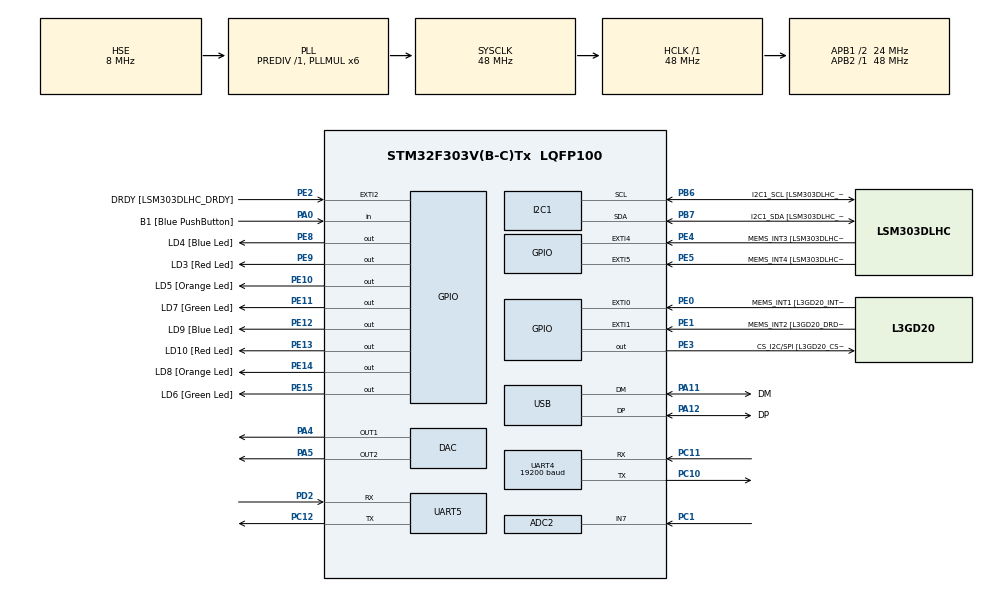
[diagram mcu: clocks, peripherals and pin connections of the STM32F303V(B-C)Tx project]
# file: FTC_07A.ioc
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ADC2.Channel-2\#ChannelRegularConversion=ADC_CHANNEL_7
ADC2.NbrOfConversionFlag=1
ADC2.Offset-2\#ChannelRegularConversion=0
ADC2.OffsetNumber-2\#ChannelRegularConversion=ADC_OFFSET_NONE
ADC2.Rank-2\#ChannelRegularConversion=1
ADC2.SamplingTime-2\#ChannelRegularConversion=ADC_SAMPLETIME_1CYCLE_5
I2C1.Timing-I2C=0x2000090E
Mcu.Family=STM32F3
Mcu.Name=STM32F303V(B-C)Tx
Mcu.Package=LQFP100
NVIC.ADC1_2_IRQn=true\:0\:0\:false\:false\:true\:true\:true
NVIC.PriorityGroup=NVIC_PRIORITYGROUP_0
NVIC.TIM3_IRQn=true\:0\:0\:false\:false\:true\:true\:true
NVIC.TIM4_IRQn=true\:0\:0\:false\:false\:true\:true\:true
NVIC.TIM6_DAC_IRQn=true\:0\:0\:false\:false\:true\:true\:true
NVIC.UART4_IRQn=true\:0\:0\:false\:false\:true\:true\:true
NVIC.UART5_IRQn=true\:0\:0\:false\:false\:true\:true\:true
PA0.GPIO_Label=B1 [Blue PushButton]
PA0.Signal=GPIO_Input
PA11.GPIO_Label=DM
PA11.Mode=Device
PA11.Signal=USB_DM
PA12.GPIO_Label=DP
PA12.Mode=Device
PA12.Signal=USB_DP
PA13.GPIO_Label=SWDIO
PA13.Mode=Serial_Wire
PA13.Signal=SYS_JTMS-SWDIO
PA14.GPIO_Label=SWCLK
PA14.Mode=Serial_Wire
PA14.Signal=SYS_JTCK-SWCLK
PA4.Signal=COMP_DAC1_group
PA5.Signal=COMP_DAC2_group
PA6.GPIO_Label=SPI1_MISO [L3GD20_SA0/SDO]
PA6.Signal=SPI1_MISO
PA7.GPIO_Label=SPI1_MISO [L3GD20_SDA/SDI/SDO]
PA7.Signal=SPI1_MOSI
PB3.GPIO_Label=SWO
PB3.Signal=SYS_JTDO-TRACESWO
PB6.GPIO_Label=I2C1_SCL [LSM303DLHC_SCL]
PB6.Mode=I2C
PB6.Signal=I2C1_SCL
PB7.GPIO_Label=I2C1_SDA [LSM303DLHC_SDA]
PB7.Mode=I2C
PB7.Signal=I2C1_SDA
PC1.Signal=ADCx_IN7
PC10.Mode=Asynchronous
PC10.Signal=UART4_TX
PC11.Mode=Asynchronous
PC11.Signal=UART4_RX
PC12.Mode=Asynchronous
PC12.Signal=UART5_TX
PC14-OSC32_IN.GPIO_Label=OSC32_IN
PC14-OSC32_IN.Signal=RCC_OSC32_IN
PC15-OSC32_OUT.GPIO_Label=OSC32_OUT
PC15-OSC32_OUT.Signal=RCC_OSC32_OUT
PD2.Mode=Asynchronous
PD2.Signal=UART5_RX
PE0.GPIO_Label=MEMS_INT1 [L3GD20_INT1]
PE0.GPIO_ModeDefaultEXTI=GPIO_MODE_EVT_RISING
PE0.Signal=GPXTI0
PE1.GPIO_Label=MEMS_INT2 [L3GD20_DRDY/INT2]
PE1.GPIO_ModeDefaultEXTI=GPIO_MODE_EVT_RISING
PE1.Signal=GPXTI1
PE10.GPIO_Label=LD5 [Orange Led]
PE10.Signal=GPIO_Output
PE11.GPIO_Label=LD7 [Green Led]
PE11.Signal=GPIO_Output
PE12.GPIO_Label=LD9 [Blue Led]
PE12.Signal=GPIO_Output
PE13.GPIO_Label=LD10 [Red Led]
PE13.Signal=GPIO_Output
PE14.GPIO_Label=LD8 [Orange Led]
PE14.Signal=GPIO_Output
PE15.GPIO_Label=LD6 [Green Led]
PE15.Signal=GPIO_Output
PE2.GPIO_Label=DRDY [LSM303DLHC_DRDY]
PE2.GPIO_ModeDefaultEXTI=GPIO_MODE_EVT_RISING
PE2.Signal=GPXTI2
PE3.GPIO_Label=CS_I2C/SPI [L3GD20_CS_I2C/SPI]
PE3.Signal=GPIO_Output
PE4.GPIO_Label=MEMS_INT3 [LSM303DLHC_INT1]
PE4.GPIO_ModeDefaultEXTI=GPIO_MODE_EVT_RISING
PE4.Signal=GPXTI4
PE5.GPIO_Label=MEMS_INT4 [LSM303DLHC_INT2]
PE5.GPIO_ModeDefaultEXTI=GPIO_MODE_EVT_RISING
PE5.Signal=GPXTI5
PE8.GPIO_Label=LD4 [Blue Led]
PE8.Signal=GPIO_Output
PE9.GPIO_Label=LD3 [Red Led]
PE9.Signal=GPIO_Output
PF0-OSC_IN.GPIO_Label=OSC_IN
PF0-OSC_IN.Mode=HSE-External-Clock-Source
PF0-OSC_IN.Signal=RCC_OSC_IN
PF1-OSC_OUT.GPIO_Label=OSC_OUT
PF1-OSC_OUT.Signal=RCC_OSC_OUT
ProjectManager.HeapSize=0x200
ProjectManager.StackSize=0x400
ProjectManager.TargetToolchain=MDK-ARM V5
RCC.AHBFreq_Value=48000000
RCC.APB1CLKDivider=RCC_HCLK_DIV2
RCC.APB1Freq_Value=24000000
RCC.APB1TimFreq_Value=48000000
RCC.APB2Freq_Value=48000000
RCC.APB2TimFreq_Value=48000000
RCC.CortexFreq_Value=48000000
RCC.HCLKFreq_Value=48000000
RCC.HSE_VALUE=8000000
RCC.HSI_VALUE=8000000
RCC.LSE_VALUE=32768
RCC.PLLMUL=RCC_PLL_MUL6
RCC.SYSCLKFreq_VALUE=48000000
RCC.SYSCLKSourceVirtual=RCC_SYSCLKSOURCE_PLLCLK
RCC.USBFreq_Value=48000000
SH.ADCx_IN7.0=ADC2_IN7,IN7-Single-Ended
SH.COMP_DAC1_group.0=DAC_OUT1,DAC_OUT1
SH.COMP_DAC2_group.0=DAC_OUT2,Enable_DAC_OUT2
TIM3.Period=3
TIM3.Prescaler=240
TIM3.TIM_MasterOutputTrigger=TIM_TRGO_UPDATE
TIM4.Period=499
TIM4.Prescaler=959
TIM4.TIM_MasterOutputTrigger=TIM_TRGO_UPDATE
TIM6.Period=99
TIM6.Prescaler=239
TIM6.TIM_MasterOutputTrigger=TIM_TRGO_UPDATE
UART4.BaudRate=19200
VP_TIM3_VS_ClockSourceINT.Mode=Internal
VP_TIM4_VS_ClockSourceINT.Mode=Internal
VP_TIM6_VS_ClockSourceINT.Mode=Enable_Timer
board=STM32F3DISCOVERY

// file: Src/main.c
/* USER CODE BEGIN Header */
/**
  ******************************************************************************
  * @file           : main.c
  * @brief          : Main program body
  ******************************************************************************
  * @attention
  *
  * <h2><center>&copy; Copyright (c) 2019 STMicroelectronics.
  * All rights reserved.</center></h2>
  *
  * This software component is licensed by ST under BSD 3-Clause license,
  * the "License"; You may not use this file except in compliance with the
  * License. You may obtain a copy of the License at:
  *                        opensource.org/licenses/BSD-3-Clause
  *
  ******************************************************************************
  */
/* USER CODE END Header */

#include "main.h"

/* USER CODE BEGIN Includes */
#include <stdio.h>
#include <string.h>
#include <stdbool.h>

/* USER CODE END Includes */

ADC_HandleTypeDef hadc2;

DAC_HandleTypeDef hdac;

I2C_HandleTypeDef hi2c1;

TIM_HandleTypeDef htim3;
TIM_HandleTypeDef htim4;
TIM_HandleTypeDef htim6;

UART_HandleTypeDef huart4;
UART_HandleTypeDef huart5;

PCD_HandleTypeDef hpcd_USB_FS;

/* USER CODE BEGIN PV */
/* Private variables ---------------------------------------------------------*/
//définition des variables globales utilisées dans le code
uint32_t ADCValue;
char a = 0;
int i=0;
float table_sinus[40] = {-1,-0.98769,-0.9511,-0.891006,-0.809017,-0.707107,-0.587786,-0.453990,-0.309017,-0.156434,0,0.156434,0.309017,0.453990,0.587786,0.707107,0.809017,0.891006,0.9511,0.98769,1,0.98769,0.9511,0.891006,0.809017,0.707107,0.587786,0.453990,0.309017,0.156434,0,-0.156434,-0.309017,-0.453990,-0.587786,-0.707107,-0.809017,-0.891006,-0.9511,-0.98769};
float sinus; float freq = 440;
uint32_t truc;
int bip = 3; int son = 25; int silence = 50; int j = 0; int k = 0;
bool enable_sortie = false;
bool enable_reception = false;
float sortie_sinus;
unsigned char cmd[30];
uint8_t pData;
char parcours_tableau = 0;
uint32_t ADCValue2;
uint32_t MaxValue=0;
uint8_t ptData;
uint32_t ADCValue_prev=0x000;
uint32_t ADCValue_prev2=0x000;
//uint32_t ADCValue_prev3=0x000;
uint8_t sig[4];
float tab_freq[100] = {261.6,293.7,329.7,349.2,392,440,493.9,523.2,587.4,659.4,698.4,784,880,987.8,1046.4,1174.8,1318.8,1396.8,1568,1760,1975.8};
/* USER CODE END PV */

void SystemClock_Config(void);
static void MX_GPIO_Init(void);
static void MX_I2C1_Init(void);
static void MX_USB_PCD_Init(void);
static void MX_DAC_Init(void);
static void MX_ADC2_Init(void);
static void MX_UART4_Init(void);
static void MX_TIM3_Init(void);
static void MX_TIM4_Init(void);
static void MX_TIM6_Init(void);
static void MX_UART5_Init(void);
/* USER CODE BEGIN PFP */
/* Private function prototypes -----------------------------------------------*/

/* USER CODE END PFP */

int main(void)
{

  /* MCU Configuration--------------------------------------------------------*/

  /* Reset of all peripherals, Initializes the Flash interface and the Systick. */
  HAL_Init();

  /* Configure the system clock */
  SystemClock_Config();

  /* Initialize all configured peripherals */
  MX_GPIO_Init();
  MX_I2C1_Init();
  MX_USB_PCD_Init();
  MX_DAC_Init();
  MX_ADC2_Init();
  MX_UART4_Init();
  MX_TIM3_Init();
  MX_TIM4_Init();
  MX_TIM6_Init();
  MX_UART5_Init();

  /* Infinite loop */
  /* USER CODE BEGIN WHILE */
  while (1)
  {
		HAL_UART_Receive_IT(&huart4,&pData,1);

    /* USER CODE END WHILE */

  }
}

void SystemClock_Config(void)
{
  RCC_OscInitTypeDef RCC_OscInitStruct = {0};
  RCC_ClkInitTypeDef RCC_ClkInitStruct = {0};
  RCC_PeriphCLKInitTypeDef PeriphClkInit = {0};

  /** Initializes the CPU, AHB and APB busses clocks
  */
  RCC_OscInitStruct.OscillatorType = RCC_OSCILLATORTYPE_HSI|RCC_OSCILLATORTYPE_HSE;
  RCC_OscInitStruct.HSEState = RCC_HSE_BYPASS;
  RCC_OscInitStruct.HSEPredivValue = RCC_HSE_PREDIV_DIV1;
  RCC_OscInitStruct.HSIState = RCC_HSI_ON;
  RCC_OscInitStruct.HSICalibrationValue = RCC_HSICALIBRATION_DEFAULT;
  RCC_OscInitStruct.PLL.PLLState = RCC_PLL_ON;
  RCC_OscInitStruct.PLL.PLLSource = RCC_PLLSOURCE_HSE;
  RCC_OscInitStruct.PLL.PLLMUL = RCC_PLL_MUL6;
  if (HAL_RCC_OscConfig(&RCC_OscInitStruct) != HAL_OK)
  {
    Error_Handler();
  }
  /** Initializes the CPU, AHB and APB busses clocks
  */
  RCC_ClkInitStruct.ClockType = RCC_CLOCKTYPE_HCLK|RCC_CLOCKTYPE_SYSCLK
                              |RCC_CLOCKTYPE_PCLK1|RCC_CLOCKTYPE_PCLK2;
  RCC_ClkInitStruct.SYSCLKSource = RCC_SYSCLKSOURCE_PLLCLK;
  RCC_ClkInitStruct.AHBCLKDivider = RCC_SYSCLK_DIV1;
  RCC_ClkInitStruct.APB1CLKDivider = RCC_HCLK_DIV2;
  RCC_ClkInitStruct.APB2CLKDivider = RCC_HCLK_DIV1;

  if (HAL_RCC_ClockConfig(&RCC_ClkInitStruct, FLASH_LATENCY_1) != HAL_OK)
  {
    Error_Handler();
  }
  PeriphClkInit.PeriphClockSelection = RCC_PERIPHCLK_USB|RCC_PERIPHCLK_UART4
                              |RCC_PERIPHCLK_UART5|RCC_PERIPHCLK_I2C1
                              |RCC_PERIPHCLK_ADC12;
  PeriphClkInit.Uart4ClockSelection = RCC_UART4CLKSOURCE_PCLK1;
  PeriphClkInit.Uart5ClockSelection = RCC_UART5CLKSOURCE_PCLK1;
  PeriphClkInit.Adc12ClockSelection = RCC_ADC12PLLCLK_DIV1;
  PeriphClkInit.I2c1ClockSelection = RCC_I2C1CLKSOURCE_HSI;
  PeriphClkInit.USBClockSelection = RCC_USBCLKSOURCE_PLL;
  if (HAL_RCCEx_PeriphCLKConfig(&PeriphClkInit) != HAL_OK)
  {
    Error_Handler();
  }
}

static void MX_ADC2_Init(void)
{

  ADC_ChannelConfTypeDef sConfig = {0};

  /** Common config
  */
  hadc2.Instance = ADC2;
  hadc2.Init.ClockPrescaler = ADC_CLOCK_ASYNC_DIV1;
  hadc2.Init.Resolution = ADC_RESOLUTION_12B;
  hadc2.Init.ScanConvMode = ADC_SCAN_DISABLE;
  hadc2.Init.ContinuousConvMode = DISABLE;
  hadc2.Init.DiscontinuousConvMode = DISABLE;
  hadc2.Init.ExternalTrigConvEdge = ADC_EXTERNALTRIGCONVEDGE_NONE;
  hadc2.Init.ExternalTrigConv = ADC_SOFTWARE_START;
  hadc2.Init.DataAlign = ADC_DATAALIGN_RIGHT;
  hadc2.Init.NbrOfConversion = 1;
  hadc2.Init.DMAContinuousRequests = DISABLE;
  hadc2.Init.EOCSelection = ADC_EOC_SINGLE_CONV;
  hadc2.Init.LowPowerAutoWait = DISABLE;
  hadc2.Init.Overrun = ADC_OVR_DATA_OVERWRITTEN;
  if (HAL_ADC_Init(&hadc2) != HAL_OK)
  {
    Error_Handler();
  }
  /** Configure Regular Channel
  */
  sConfig.Channel = ADC_CHANNEL_7;
  sConfig.Rank = ADC_REGULAR_RANK_1;
  sConfig.SingleDiff = ADC_SINGLE_ENDED;
  sConfig.SamplingTime = ADC_SAMPLETIME_1CYCLE_5;
  sConfig.OffsetNumber = ADC_OFFSET_NONE;
  sConfig.Offset = 0;
  if (HAL_ADC_ConfigChannel(&hadc2, &sConfig) != HAL_OK)
  {
    Error_Handler();
  }

}

static void MX_DAC_Init(void)
{

  DAC_ChannelConfTypeDef sConfig = {0};

  /** DAC Initialization
  */
  hdac.Instance = DAC;
  if (HAL_DAC_Init(&hdac) != HAL_OK)
  {
    Error_Handler();
  }
  /** DAC channel OUT1 config
  */
  sConfig.DAC_Trigger = DAC_TRIGGER_NONE;
  sConfig.DAC_OutputBuffer = DAC_OUTPUTBUFFER_ENABLE;
  if (HAL_DAC_ConfigChannel(&hdac, &sConfig, DAC_CHANNEL_1) != HAL_OK)
  {
    Error_Handler();
  }
  /** DAC channel OUT2 config
  */
  if (HAL_DAC_ConfigChannel(&hdac, &sConfig, DAC_CHANNEL_2) != HAL_OK)
  {
    Error_Handler();
  }

}

static void MX_I2C1_Init(void)
{

  hi2c1.Instance = I2C1;
  hi2c1.Init.Timing = 0x2000090E;
  hi2c1.Init.OwnAddress1 = 0;
  hi2c1.Init.AddressingMode = I2C_ADDRESSINGMODE_7BIT;
  hi2c1.Init.DualAddressMode = I2C_DUALADDRESS_DISABLE;
  hi2c1.Init.OwnAddress2 = 0;
  hi2c1.Init.OwnAddress2Masks = I2C_OA2_NOMASK;
  hi2c1.Init.GeneralCallMode = I2C_GENERALCALL_DISABLE;
  hi2c1.Init.NoStretchMode = I2C_NOSTRETCH_DISABLE;
  if (HAL_I2C_Init(&hi2c1) != HAL_OK)
  {
    Error_Handler();
  }
  /** Configure Analogue filter
  */
  if (HAL_I2CEx_ConfigAnalogFilter(&hi2c1, I2C_ANALOGFILTER_ENABLE) != HAL_OK)
  {
    Error_Handler();
  }
  /** Configure Digital filter
  */
  if (HAL_I2CEx_ConfigDigitalFilter(&hi2c1, 0) != HAL_OK)
  {
    Error_Handler();
  }

}

static void MX_TIM3_Init(void)
{

  TIM_ClockConfigTypeDef sClockSourceConfig = {0};
  TIM_MasterConfigTypeDef sMasterConfig = {0};

  htim3.Instance = TIM3;
  htim3.Init.Prescaler = 240;
  htim3.Init.CounterMode = TIM_COUNTERMODE_UP;
  htim3.Init.Period = 3;
  htim3.Init.ClockDivision = TIM_CLOCKDIVISION_DIV1;
  htim3.Init.AutoReloadPreload = TIM_AUTORELOAD_PRELOAD_DISABLE;
  if (HAL_TIM_Base_Init(&htim3) != HAL_OK)
  {
    Error_Handler();
  }
  sClockSourceConfig.ClockSource = TIM_CLOCKSOURCE_INTERNAL;
  if (HAL_TIM_ConfigClockSource(&htim3, &sClockSourceConfig) != HAL_OK)
  {
    Error_Handler();
  }
  sMasterConfig.MasterOutputTrigger = TIM_TRGO_UPDATE;
  sMasterConfig.MasterSlaveMode = TIM_MASTERSLAVEMODE_DISABLE;
  if (HAL_TIMEx_MasterConfigSynchronization(&htim3, &sMasterConfig) != HAL_OK)
  {
    Error_Handler();
  }

}

static void MX_TIM4_Init(void)
{

  TIM_ClockConfigTypeDef sClockSourceConfig = {0};
  TIM_MasterConfigTypeDef sMasterConfig = {0};

  htim4.Instance = TIM4;
  htim4.Init.Prescaler = 959;
  htim4.Init.CounterMode = TIM_COUNTERMODE_UP;
  htim4.Init.Period = 499;
  htim4.Init.ClockDivision = TIM_CLOCKDIVISION_DIV1;
  htim4.Init.AutoReloadPreload = TIM_AUTORELOAD_PRELOAD_DISABLE;
  if (HAL_TIM_Base_Init(&htim4) != HAL_OK)
  {
    Error_Handler();
  }
  sClockSourceConfig.ClockSource = TIM_CLOCKSOURCE_INTERNAL;
  if (HAL_TIM_ConfigClockSource(&htim4, &sClockSourceConfig) != HAL_OK)
  {
    Error_Handler();
  }
  sMasterConfig.MasterOutputTrigger = TIM_TRGO_UPDATE;
  sMasterConfig.MasterSlaveMode = TIM_MASTERSLAVEMODE_DISABLE;
  if (HAL_TIMEx_MasterConfigSynchronization(&htim4, &sMasterConfig) != HAL_OK)
  {
    Error_Handler();
  }

}

static void MX_TIM6_Init(void)
{

  TIM_MasterConfigTypeDef sMasterConfig = {0};

  htim6.Instance = TIM6;
  htim6.Init.Prescaler = 239;
  htim6.Init.CounterMode = TIM_COUNTERMODE_UP;
  htim6.Init.Period = 99;
  htim6.Init.AutoReloadPreload = TIM_AUTORELOAD_PRELOAD_DISABLE;
  if (HAL_TIM_Base_Init(&htim6) != HAL_OK)
  {
    Error_Handler();
  }
  sMasterConfig.MasterOutputTrigger = TIM_TRGO_UPDATE;
  sMasterConfig.MasterSlaveMode = TIM_MASTERSLAVEMODE_DISABLE;
  if (HAL_TIMEx_MasterConfigSynchronization(&htim6, &sMasterConfig) != HAL_OK)
  {
    Error_Handler();
  }

}

static void MX_UART4_Init(void)
{

  huart4.Instance = UART4;
  huart4.Init.BaudRate = 19200;
  huart4.Init.WordLength = UART_WORDLENGTH_8B;
  huart4.Init.StopBits = UART_STOPBITS_1;
  huart4.Init.Parity = UART_PARITY_NONE;
  huart4.Init.Mode = UART_MODE_TX_RX;
  huart4.Init.HwFlowCtl = UART_HWCONTROL_NONE;
  huart4.Init.OverSampling = UART_OVERSAMPLING_16;
  huart4.Init.OneBitSampling = UART_ONE_BIT_SAMPLE_DISABLE;
  huart4.AdvancedInit.AdvFeatureInit = UART_ADVFEATURE_NO_INIT;
  if (HAL_UART_Init(&huart4) != HAL_OK)
  {
    Error_Handler();
  }

}

static void MX_UART5_Init(void)
{

  huart5.Instance = UART5;
  huart5.Init.BaudRate = 115200;
  huart5.Init.WordLength = UART_WORDLENGTH_8B;
  huart5.Init.StopBits = UART_STOPBITS_1;
  huart5.Init.Parity = UART_PARITY_NONE;
  huart5.Init.Mode = UART_MODE_TX_RX;
  huart5.Init.HwFlowCtl = UART_HWCONTROL_NONE;
  huart5.Init.OverSampling = UART_OVERSAMPLING_16;
  huart5.Init.OneBitSampling = UART_ONE_BIT_SAMPLE_DISABLE;
  huart5.AdvancedInit.AdvFeatureInit = UART_ADVFEATURE_NO_INIT;
  if (HAL_UART_Init(&huart5) != HAL_OK)
  {
    Error_Handler();
  }

}

static void MX_USB_PCD_Init(void)
{

  hpcd_USB_FS.Instance = USB;
  hpcd_USB_FS.Init.dev_endpoints = 8;
  hpcd_USB_FS.Init.speed = PCD_SPEED_FULL;
  hpcd_USB_FS.Init.phy_itface = PCD_PHY_EMBEDDED;
  hpcd_USB_FS.Init.low_power_enable = DISABLE;
  hpcd_USB_FS.Init.battery_charging_enable = DISABLE;
  if (HAL_PCD_Init(&hpcd_USB_FS) != HAL_OK)
  {
    Error_Handler();
  }

}

static void MX_GPIO_Init(void)
{
  GPIO_InitTypeDef GPIO_InitStruct = {0};

  /* GPIO Ports Clock Enable */
  __HAL_RCC_GPIOE_CLK_ENABLE();
  __HAL_RCC_GPIOC_CLK_ENABLE();
  __HAL_RCC_GPIOF_CLK_ENABLE();
  __HAL_RCC_GPIOA_CLK_ENABLE();
  __HAL_RCC_GPIOD_CLK_ENABLE();
  __HAL_RCC_GPIOB_CLK_ENABLE();

  /*Configure GPIO pin Output Level */
  HAL_GPIO_WritePin(GPIOE, CS_I2C_SPI_Pin|LD4_Pin|LD3_Pin|LD5_Pin
                          |LD7_Pin|LD9_Pin|LD10_Pin|LD8_Pin
                          |LD6_Pin, GPIO_PIN_RESET);

  /*Configure GPIO pins : DRDY_Pin MEMS_INT3_Pin MEMS_INT4_Pin MEMS_INT1_Pin
                           MEMS_INT2_Pin */
  GPIO_InitStruct.Pin = DRDY_Pin|MEMS_INT3_Pin|MEMS_INT4_Pin|MEMS_INT1_Pin
                          |MEMS_INT2_Pin;
  GPIO_InitStruct.Mode = GPIO_MODE_EVT_RISING;
  GPIO_InitStruct.Pull = GPIO_NOPULL;
  HAL_GPIO_Init(GPIOE, &GPIO_InitStruct);

  /*Configure GPIO pins : CS_I2C_SPI_Pin LD4_Pin LD3_Pin LD5_Pin
                           LD7_Pin LD9_Pin LD10_Pin LD8_Pin
                           LD6_Pin */
  GPIO_InitStruct.Pin = CS_I2C_SPI_Pin|LD4_Pin|LD3_Pin|LD5_Pin
                          |LD7_Pin|LD9_Pin|LD10_Pin|LD8_Pin
                          |LD6_Pin;
  GPIO_InitStruct.Mode = GPIO_MODE_OUTPUT_PP;
  GPIO_InitStruct.Pull = GPIO_NOPULL;
  GPIO_InitStruct.Speed = GPIO_SPEED_FREQ_LOW;
  HAL_GPIO_Init(GPIOE, &GPIO_InitStruct);

  /*Configure GPIO pin : B1_Pin */
  GPIO_InitStruct.Pin = B1_Pin;
  GPIO_InitStruct.Mode = GPIO_MODE_INPUT;
  GPIO_InitStruct.Pull = GPIO_NOPULL;
  HAL_GPIO_Init(B1_GPIO_Port, &GPIO_InitStruct);

  /*Configure GPIO pins : SPI1_MISO_Pin SPI1_MISOA7_Pin */
  GPIO_InitStruct.Pin = SPI1_MISO_Pin|SPI1_MISOA7_Pin;
  GPIO_InitStruct.Mode = GPIO_MODE_AF_PP;
  GPIO_InitStruct.Pull = GPIO_NOPULL;
  GPIO_InitStruct.Speed = GPIO_SPEED_FREQ_HIGH;
  GPIO_InitStruct.Alternate = GPIO_AF5_SPI1;
  HAL_GPIO_Init(GPIOA, &GPIO_InitStruct);

}

/* USER CODE BEGIN 4 */

void init_generation_son(float freq,int son,int silence,int bip){
	htim3.Instance->PSC = 48000000/(4*freq*40); //calcul du prescaler du timer 3
	htim3.Instance->ARR = 3;
	htim4.Instance->PSC =959;
	htim4.Instance->ARR = 499;
	HAL_TIM_Base_Start_IT(&htim3);//genère un "update event"
	j=0; //reinitialise le compteur de bip
	HAL_TIM_Base_Start_IT(&htim4);
}

void init_acquisition_son(void){
	htim3.Instance->PSC = 109; //prescaler à 239 et period à 19 pour avoir une freq de 44kHz
	htim3.Instance->ARR = 9;
	htim6.Instance->PSC = 239; //prescaler à 239 et period à 19 pour avoir une freq de 2kHz
	htim6.Instance->ARR = 99;
	HAL_TIM_Base_Start_IT(&htim3);//genère un "update event"
	HAL_TIM_Base_Start_IT(&htim6);//genère un "update event"
}
void enveloppe_signal(void){
	if (enable_reception==true){
 		HAL_ADC_Start (&hadc2);
		HAL_ADC_PollForConversion(&hadc2,10);
		//ADCValue_prev3=ADCValue_prev2;
		ADCValue_prev2=ADCValue_prev;
		ADCValue_prev=ADCValue;
		ADCValue = HAL_ADC_GetValue(&hadc2);

	if (ADCValue==0x000 && ADCValue_prev==0x000 && ADCValue_prev2==0x000){
		//si  toutes les valeurs précédentes et actuelles sont à 0, on met le seuil à 0
		MaxValue=0x000;
	}
	else{
		if(ADCValue>MaxValue){
		MaxValue=ADCValue;
		}
	}
	HAL_DAC_SetValue(&hdac,DAC_CHANNEL_1,DAC_ALIGN_12B_R, MaxValue);
	HAL_DAC_Start(&hdac,DAC_CHANNEL_1);
	}
}
void generation_sinus(void){
	if (enable_sortie==true){
		if(a>39){
			a=0;
		}
		sinus = (table_sinus[a]+1)*2047;
		sortie_sinus=sinus;
		a+=1;
		HAL_DAC_SetValue(&hdac, DAC_CHANNEL_1, DAC_ALIGN_12B_R, sortie_sinus);
		HAL_DAC_Start(&hdac,DAC_CHANNEL_1);
	}
	else{
		//sinon on revient au début du tableau
		a=0;
	}

	}

void recopie_signal(void){
	if (enable_reception==true){
		HAL_ADC_Start (&hadc2);
		HAL_ADC_PollForConversion(&hadc2,10);
		ADCValue2 = HAL_ADC_GetValue(&hadc2);
		HAL_DAC_SetValue(&hdac, DAC_CHANNEL_2, DAC_ALIGN_12B_R, ADCValue2);
		HAL_DAC_Start(&hdac,DAC_CHANNEL_2);
	}
}
void generation_son(void){
	//tant qu'on a pas fait le nombre de bip demandé
	if(j<bip){
		//tant qu'on a pas atteint la durée de son demandée
		if(k<son){
			enable_sortie = true; //on passe le flag à 1
			k++; //on incrément l'indice
		}
		//sinon si on a dépassé la durée du son demandée mais pas la durée totale
		else if(k<son+silence){
			enable_sortie = false; //on passe le flag à 0
			sortie_sinus=0; // on retourne 0 pour la sortie du sinus
			k++; // on incrémente l'indice
		}
		else {
			sinus = 0; ///on met la valeur du sinus à0 pour redémarrer le sinus à 0
			k=0; // on réinitialise l'indice d'incrémentation
			j++; //on passe au bip suivant
		}

}
	else {
		HAL_TIM_Base_Stop_IT(&htim3);
		HAL_TIM_Base_Stop_IT(&htim4);
	}

}

void HAL_TIM_PeriodElapsedCallback(TIM_HandleTypeDef* htim){

	if (htim == &htim3){
		//lors d'un overflow du timer 3
		recopie_signal();
		generation_sinus();
//
}
		else if(htim==&htim4){
			//lors d'un overflow du timer 4
			generation_son();
		}
		else if(htim==&htim6){
			//lors d'un overflow du timer 6
			enveloppe_signal();

		}
}

void HAL_UART_RxCpltCallback(UART_HandleTypeDef *huart){
	//fonction permettant de réceptionner les caractères et la fin d'une commande
		if (pData != '\r'){
			cmd[parcours_tableau] = pData;
			parcours_tableau++;

		}
		else{
			cmd[parcours_tableau] = ' ';
			parcours_tableau = 0;
			interprete_commande(cmd);
		}

}
void interprete_commande(unsigned char* cmd){
	int code_freq=6;
	if(cmd[0]=='S' && cmd[1]=='D'){
		enable_reception=false;
		sscanf((char*) cmd, "SD F:%d P:%d W:%d B:%d ", &code_freq, &son , &silence , &bip);
		freq = tab_freq[code_freq-1];//on fait la correspondance entre le numero de frequence et la fréquence
		init_generation_son(freq, son, silence, bip);
	}
	else if(cmd[0]=='A' && cmd[1]=='S' && cmd[2]=='S'){
		enable_reception = true;
		init_acquisition_son();
		//acquisition_signaux();
	}

}

/* USER CODE END 4 */

void Error_Handler(void)
{
  while(1)
  {
  }
}

/************************ (C) COPYRIGHT STMicroelectronics *****END OF FILE****/
